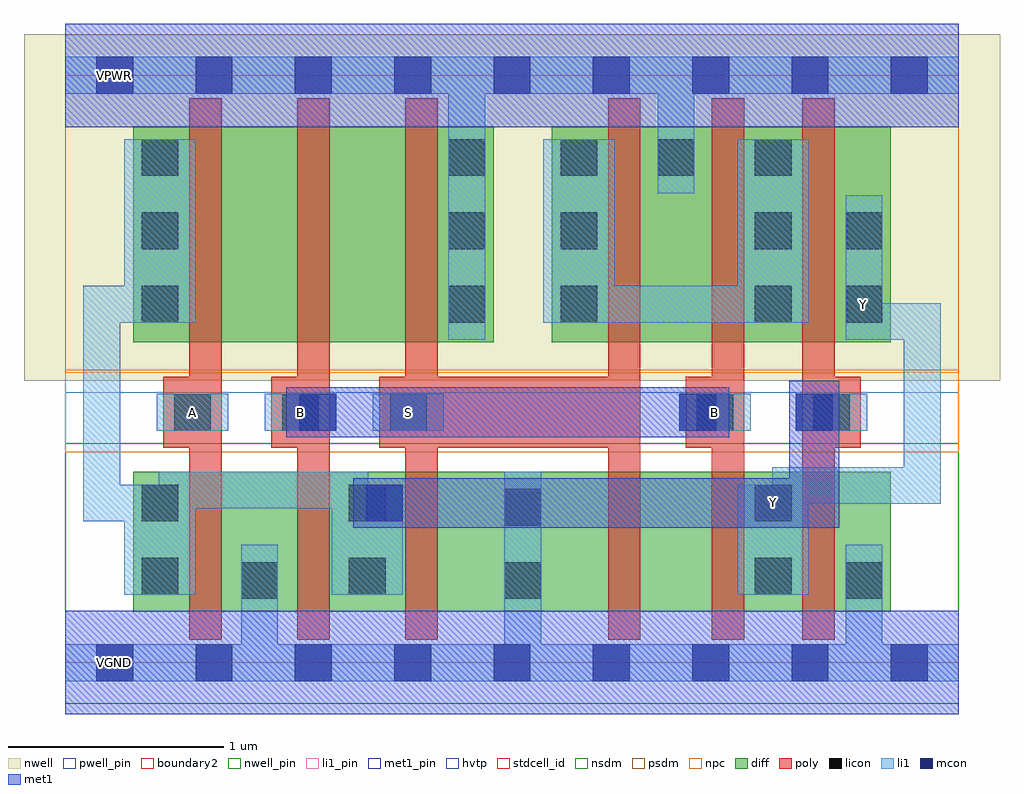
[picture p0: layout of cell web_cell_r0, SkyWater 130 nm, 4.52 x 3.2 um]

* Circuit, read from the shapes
.subckt web_cell_r0 A B S VGND VNB VPB VPWR Y
XM1 VGND A n1 VNB sky130_fd_pr__nfet_01v8 w=0.65 l=0.15
XM2 n1 B VGND VNB sky130_fd_pr__nfet_01v8 w=0.65 l=0.15
XM3 VGND S n1 VNB sky130_fd_pr__nfet_01v8 w=0.65 l=0.15
XM4 n2 S VGND VNB sky130_fd_pr__nfet_01v8 w=0.65 l=0.15
XM5 Y B n2 VNB sky130_fd_pr__nfet_01v8 w=0.65 l=0.15
XM6 VGND n1 Y VNB sky130_fd_pr__nfet_01v8 w=0.65 l=0.15
XM7 n3 A n1 VPB sky130_fd_pr__pfet_01v8_hvt w=1 l=0.15
XM8 n4 B n3 VPB sky130_fd_pr__pfet_01v8_hvt w=1 l=0.15
XM9 VPWR S n4 VPB sky130_fd_pr__pfet_01v8_hvt w=1 l=0.15
XM10 VPWR S n5 VPB sky130_fd_pr__pfet_01v8_hvt w=1 l=0.15
XM11 n5 B VPWR VPB sky130_fd_pr__pfet_01v8_hvt w=1 l=0.15
XM12 Y n1 n5 VPB sky130_fd_pr__pfet_01v8_hvt w=1 l=0.15
.ends

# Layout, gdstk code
import gdstk
lib = gdstk.Library(unit=1e-6, precision=1e-09)
def R(c, l, rs):  # rectangles x0, y0, x1, y1
    for r in rs: c.add(gdstk.rectangle(r[:2], r[2:], *l))
def A(c, l, x, y, w, h, nx, ny, dx, dy):  # array of equal rectangles
    R(c, l, [(x+i*dx, y+j*dy, x+i*dx+w, y+j*dy+h) for i in range(nx) for j in range(ny)])
nwell_pin = (64, 16)
nwell = (64, 20)
diff = (65, 20)
poly = (66, 20)
licon = (66, 44)
li1_pin = (67, 16)
li1 = (67, 20)
mcon = (67, 44)
met1_pin = (68, 16)
met1 = (68, 20)
hvtp = (78, 44)
stdcell_id = (81, 4)
nsdm = (93, 44)
psdm = (94, 20)
npc = (95, 20)
pwell_pin = (122, 16)
boundary2 = (236, 0)

web_cell_r0 = lib.new_cell('web_cell_r0')
R(web_cell_r0, nwell_pin, [(0.145,2.635,0.315,2.805)])
R(web_cell_r0, nwell, [(-0.19,1.305,4.33,2.91)])
R(web_cell_r0, diff, [(0.315,0.235,0.9,0.885), (0.9,0.235,1.4,0.885), (1.4,0.235,2.12,0.885), (2.12,0.235,2.83,0.885), (2.83,0.235,3.28,0.885), (3.28,0.235,3.825,0.885), (0.315,1.485,0.9,2.485), (0.9,1.485,1.4,2.485), (1.4,1.485,1.985,2.485), (2.255,1.485,2.83,2.485), (2.83,1.485,3.28,2.485), (3.28,1.485,3.825,2.485)])
A(web_cell_r0, poly, 0.575, 0.105, 0.15, 2.51, 3, 1, 0.5, 0)
A(web_cell_r0, poly, 0.455, 0.995, 0.27, 0.33, 3, 1, 0.5, 0)
R(web_cell_r0, poly, [(2.515,0.105,2.665,2.615), (2.995,0.105,3.145,2.615), (3.415,0.105,3.565,2.615), (1.575,0.995,2.665,1.325), (2.875,0.995,3.145,1.325), (3.415,0.995,3.685,1.325)])
A(web_cell_r0, licon, 0.505, 1.075, 0.17, 0.17, 3, 1, 0.5, 0)
A(web_cell_r0, licon, 0.355, 1.575, 0.17, 0.17, 1, 3, 0, 0.34)
A(web_cell_r0, licon, 1.775, 1.575, 0.17, 0.17, 1, 3, 0, 0.34)
A(web_cell_r0, licon, 2.295, 2.255, 0.17, 0.17, 3, 1, 0.45, 0)
R(web_cell_r0, licon, [(0.815,0.295,0.985,0.465), (2.035,0.295,2.205,0.465), (3.615,0.295,3.785,0.465), (0.355,0.315,0.525,0.485), (1.315,0.315,1.485,0.485), (3.195,0.315,3.365,0.485), (2.035,0.635,2.205,0.805), (0.355,0.655,0.525,0.825), (1.315,0.655,1.485,0.825), (3.195,0.655,3.365,0.825), (2.925,1.075,3.095,1.245), (3.465,1.075,3.635,1.245), (2.295,1.575,2.465,1.745), (3.195,1.575,3.365,1.745), (3.615,1.575,3.785,1.745), (2.295,1.915,2.465,2.085), (3.195,1.915,3.365,2.085), (3.615,1.915,3.785,2.085)])
A(web_cell_r0, li1_pin, 0.505, 1.075, 0.17, 0.17, 3, 1, 0.5, 0)
R(web_cell_r0, li1_pin, [(3.195,0.655,3.365,0.825), (2.925,1.075,3.095,1.245), (3.615,1.575,3.785,1.745)])
A(web_cell_r0, li1, 0.425, 1.075, 0.33, 0.17, 3, 1, 0.5, 0)
R(web_cell_r0, li1, [(0,-0.085,4.14,0.085), (0.815,-0.085,0.985,0.545), (2.035,-0.085,2.205,0.545), (3.615,-0.085,3.785,0.545), (2.035,0.295,2.205,0.885), (0.275,0.315,0.605,0.825), (1.235,0.315,1.565,0.825), (3.115,0.315,3.445,0.825), (0.085,0.655,0.255,1.745), (0.085,0.655,0.445,0.825), (0.255,0.655,0.275,0.825), (0.255,0.655,0.275,0.825), (0.255,0.655,0.275,0.825), (0.255,0.655,0.275,0.825), (0.255,0.655,0.275,0.825), (0.255,0.655,0.275,0.825), (0.255,0.655,0.275,0.825), (0.255,0.655,0.275,0.825), (0.255,0.655,0.275,0.825), (0.255,0.655,0.275,0.825), (0.255,0.655,0.275,0.825), (0.255,0.655,0.275,0.825), (0.255,0.655,0.275,0.825), (0.255,0.655,0.275,0.825), (0.255,0.655,0.275,0.825), (0.255,0.655,0.275,0.825), (0.275,0.655,0.605,0.825), (0.275,0.655,0.435,0.825), (0.275,0.655,0.435,0.825), (0.275,0.655,0.435,0.825), (0.275,0.655,0.435,0.825), (0.275,0.655,0.435,0.825), (0.275,0.655,0.435,0.825), (0.275,0.655,0.435,0.825), (0.275,0.655,0.435,0.825), (0.275,0.655,0.435,0.825), (0.275,0.655,0.435,0.825), (0.275,0.655,0.435,0.825), (0.275,0.655,0.435,0.825), (0.275,0.655,0.435,0.825), (0.275,0.655,0.435,0.825), (0.435,0.655,0.605,0.885), (1.235,0.655,1.565,0.825), (1.235,0.655,1.405,0.885), (3.115,0.655,3.445,0.825), (3.275,0.655,3.445,0.905), (0.255,0.715,0.275,0.825), (0.255,0.715,0.275,0.825), (0.255,0.715,0.275,0.825), (0.255,0.715,0.275,0.825), (0.255,0.715,0.275,0.825), (0.255,0.715,0.275,0.825), (0.255,0.715,0.275,0.825), (0.255,0.715,0.275,0.825), (0.275,0.715,0.435,0.825), (0.275,0.715,0.435,0.825), (0.275,0.715,0.435,0.825), (0.275,0.715,0.435,0.825), (0.275,0.715,0.435,0.825), (0.275,0.715,0.435,0.825), (0.275,0.715,0.435,0.825), (0.275,0.715,0.435,0.825), (0.275,0.715,0.435,0.825), (0.275,0.715,0.435,0.825), (0.275,0.715,0.435,0.825), (0.275,0.715,0.435,0.825), (0.275,0.715,0.435,0.825), (0.275,0.715,0.435,0.825), (0.275,0.715,0.435,0.825), (0.275,0.715,0.435,0.825), (0.275,0.715,0.435,0.825), (0.275,0.715,0.435,0.825), (0.435,0.715,1.405,0.885), (3.275,0.735,4.055,0.905), (3.885,0.735,4.055,1.665), (2.845,1.075,3.175,1.245), (3.385,1.075,3.715,1.245), (1.775,1.495,1.945,2.085), (3.615,1.495,3.785,1.825), (3.615,1.495,4.055,1.665), (3.785,1.495,3.885,1.665), (3.785,1.495,3.885,1.665), (3.785,1.495,3.885,1.665), (3.785,1.495,3.885,1.665), (0.085,1.575,0.445,1.745), (0.255,1.575,0.275,1.745), (0.255,1.575,0.275,1.745), (0.255,1.575,0.275,1.745), (0.255,1.575,0.275,1.745), (0.255,1.575,0.275,1.745), (0.255,1.575,0.275,1.745), (0.255,1.575,0.275,1.745), (0.255,1.575,0.275,1.745), (0.275,1.575,0.605,1.745), (0.275,1.575,0.605,2.085), (2.215,1.575,2.545,1.745), (2.215,1.575,2.545,2.085), (2.375,1.575,3.285,1.745), (3.115,1.575,3.445,1.745), (3.115,1.575,3.445,2.085), (3.615,1.575,3.785,2.165), (3.785,1.575,3.885,1.665), (3.785,1.575,3.885,1.665), (3.785,1.575,3.885,1.665), (3.785,1.575,3.885,1.665), (1.775,1.835,1.945,2.425), (0.275,1.915,0.605,2.425), (2.215,1.915,2.545,2.425), (3.115,1.915,3.445,2.425), (1.775,2.085,1.945,2.175), (1.775,2.085,1.945,2.175), (1.775,2.085,1.945,2.175), (1.775,2.085,1.945,2.175), (1.775,2.175,1.945,2.805), (2.745,2.175,2.915,2.805), (0,2.635,4.14,2.805)])
A(web_cell_r0, mcon, 0.145, -0.085, 0.17, 0.17, 9, 2, 0.46, 2.72)
R(web_cell_r0, mcon, [(1.395,0.655,1.565,0.825), (1.085,1.075,1.255,1.245), (2.845,1.075,3.015,1.245), (3.385,1.075,3.555,1.245)])
R(web_cell_r0, met1_pin, [(0.145,-0.085,0.315,0.085), (0.145,2.635,0.315,2.805)])
R(web_cell_r0, met1, [(0,-0.24,4.14,0.24), (1.335,0.625,1.625,0.855), (1.365,0.625,3.585,0.855), (3.355,0.625,3.585,1.275), (3.355,1.015,3.585,1.305), (1.025,1.045,1.315,1.275), (1.055,1.045,3.045,1.275), (2.785,1.045,3.075,1.275), (0,2.48,4.14,2.96)])
R(web_cell_r0, hvtp, [(0,1.25,4.14,2.72)])
R(web_cell_r0, stdcell_id, [(0,0,4.14,2.72)])
R(web_cell_r0, nsdm, [(0,-0.19,4.14,1.015)])
R(web_cell_r0, psdm, [(0,1.355,4.14,2.91)])
R(web_cell_r0, npc, [(0,0.975,4.14,1.345)])
R(web_cell_r0, pwell_pin, [(0.145,-0.085,0.315,0.085)])
R(web_cell_r0, boundary2, [(0,0,4.14,2.72)])
web_cell_r0.add(gdstk.Label('A', (0.59,1.16), layer=67, texttype=5))
web_cell_r0.add(gdstk.Label('B', (1.09,1.16), layer=67, texttype=5))
web_cell_r0.add(gdstk.Label('B', (3.01,1.16), layer=67, texttype=5))
web_cell_r0.add(gdstk.Label('S', (1.59,1.16), layer=67, texttype=5))
web_cell_r0.add(gdstk.Label('Y', (3.28,0.74), layer=67, texttype=5))
web_cell_r0.add(gdstk.Label('Y', (3.7,1.66), layer=67, texttype=5))
web_cell_r0.add(gdstk.Label('VGND', (0.23,0), layer=68, texttype=5))
web_cell_r0.add(gdstk.Label('VPWR', (0.23,2.72), layer=68, texttype=5))
web_cell_r0.add(gdstk.Label('VPB', (0.23,2.72), layer=64, texttype=5))
web_cell_r0.add(gdstk.Label('VNB', (0.23,0), layer=64, texttype=59))

lib.write_gds('web_cell_r0.gds')
